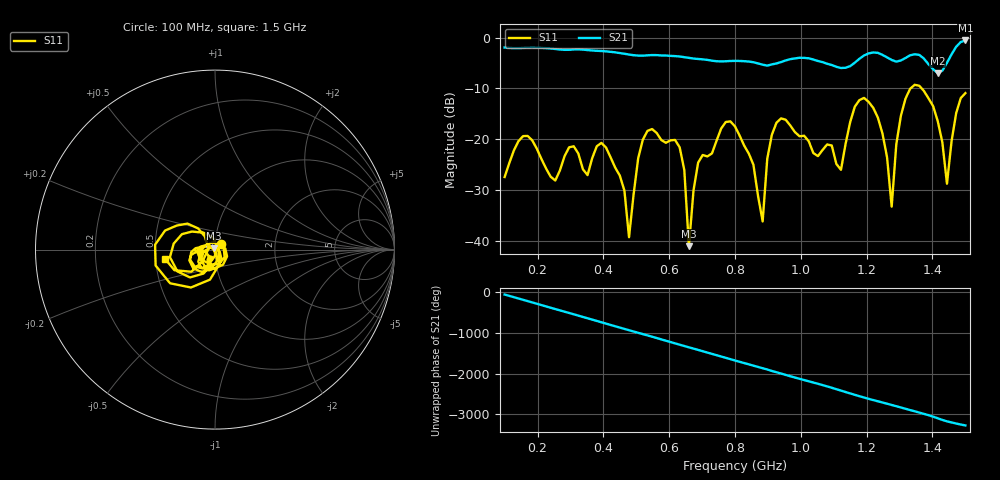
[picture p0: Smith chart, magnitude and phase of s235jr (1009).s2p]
! NanoVNA-App
! Date: 2025-09-25 15:12:01
! Start: 100MHz Stop: 1,5GHz Points: 101
! S-Parameter data: F S11 S21 S12 S22
# Hz S RI R 50
!  Frequency  S11_Real  S11_Imag  S21_Real  S21_Imag  S12_Real  S12_Imag  S22_Real  S22_Imag
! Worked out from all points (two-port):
!   101 points, 100 MHz to 1.5 GHz, reference 50 ohm
!   highest |S21| = -0.58 dB at 1.5 GHz (marker M1); lowest = -7.0 dB at 1.416 GHz (marker M2)
!   |S21| within 3 dB of the highest: start of sweep to 596.8 MHz; 1.191 GHz to 1.253 GHz (61.45 MHz wide, 5.03 % of centre) (the widest 2 of 4)
!   lowest |S11| = -41.1 dB at 660 MHz (marker M3), VSWR 1.02, Z = 49.4 + j0.609 ohm
!   |S11| at or under -10 dB: start of sweep to 1.334 GHz; 1.367 GHz to end of sweep
!   S12 and S22 are empty: the file has one direction only
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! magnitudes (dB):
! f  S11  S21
! 100 MHz  -27.5  -2.0
! 156 MHz  -19.4  -2.0
! 338 MHz  -26.0  -2.4
! 408 MHz  -21.6  -2.7
! 478 MHz  -39.3  -3.3
! 520 MHz  -20.1  -3.6
! 576 MHz  -20.2  -3.5
! 632 MHz  -21.6  -3.7
! 660 MHz  -41.1  -4.0
! 688 MHz  -24.6  -4.2
! 800 MHz  -17.5  -4.6
! 884 MHz  -36.2  -5.3
! 926 MHz  -16.8  -5.1
! 1.038 GHz  -22.7  -4.3
! 1.122 GHz  -26.0  -6.0
! 1.192 GHz  -11.9  -3.5
! 1.248 GHz  -18.9  -3.4
! 1.276 GHz  -33.3  -4.4
! 1.332 GHz  -10.1  -3.5
! 1.416 GHz  -16.5  -7.0
! 1.444 GHz  -28.8  -5.0
! 1.5 GHz  -10.9  -0.6
